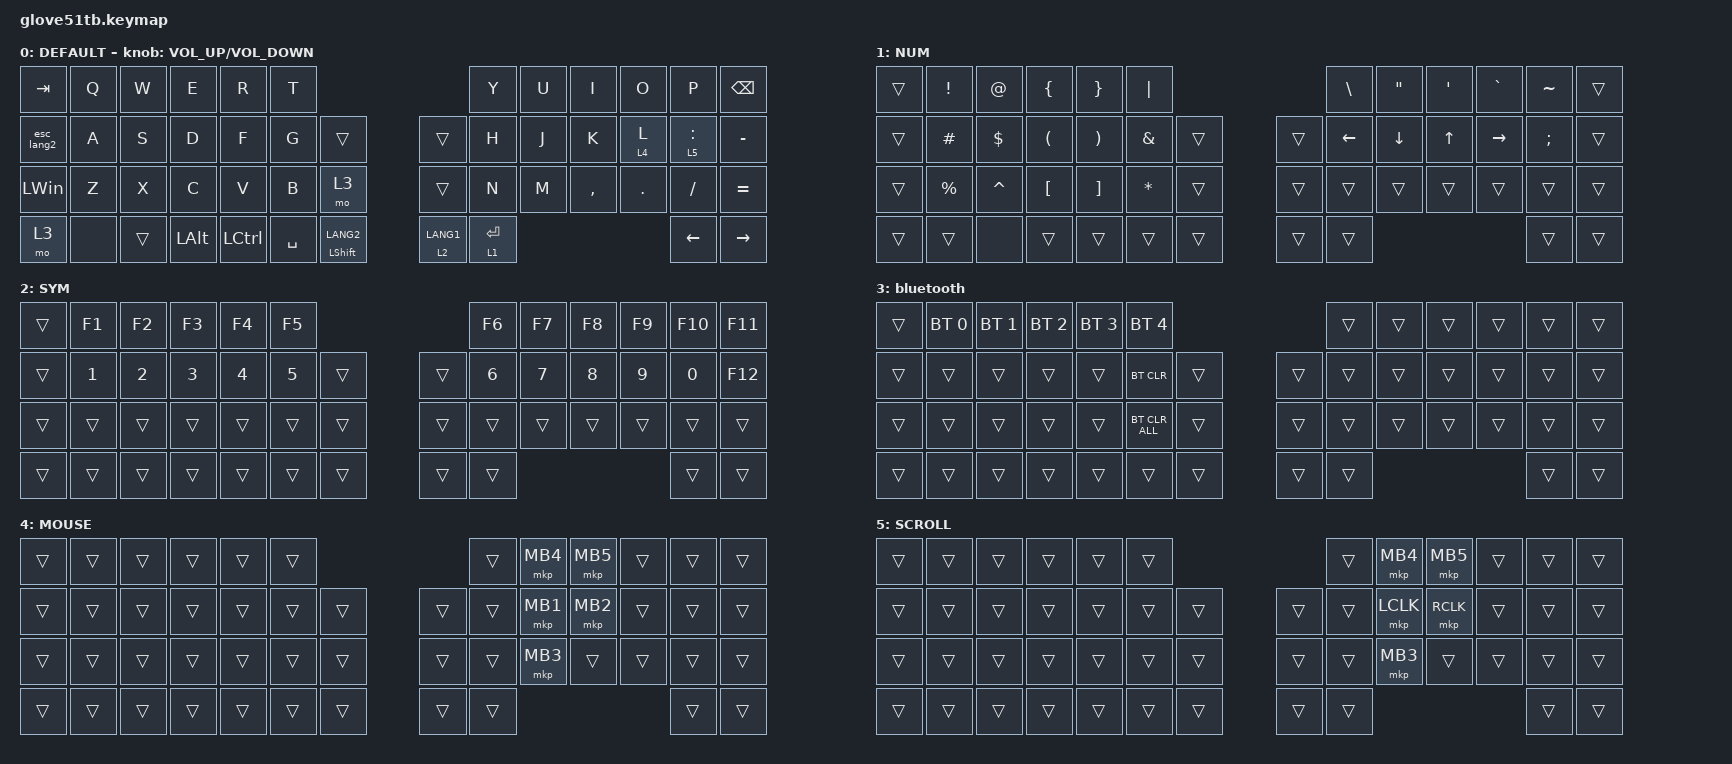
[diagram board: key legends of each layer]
#define ZMK_POINTING_DEFAULT_SCRL_VAL 150

#include <behaviors/rgbled_widget.dtsi>
#include <dt-bindings/zmk/input_transform.h>
#include <input/processors.dtsi>
#include <zephyr/dt-bindings/input/input-event-codes.h>
#include <behaviors.dtsi>
#include <dt-bindings/zmk/bt.h>
#include <dt-bindings/zmk/keys.h>
#include <dt-bindings/zmk/pointing.h>

// Layer Numbering

#define DEFAULT 0
#define NUM     1
#define SYM     2
#define FUN     3
#define MOUSE   4
#define SCROLL  5

&mmv {
    delay-ms = <20>;
    trigger-period-ms = <5>;
    time-to-max-speed-ms = <100>;
    acceleration-exponent = <2>;
};

&msc {
    delay-ms = <3>;
    trigger-period-ms = <3>;
    time-to-max-speed-ms = <100>;
    acceleration-exponent = <0>;
};

/ {
    input_processors {
        zip_wheel_scaler: zip_wheel_scaler {
            compatible = "zmk,input-processor-scaler";
            #input-processor-cells = <2>;
            type = <INPUT_EV_REL>;
            codes = <INPUT_REL_WHEEL>;
            track-remainders;
        };

        tb_y_scaler: tb_y_scaler {
            compatible = "zmk,input-processor-scaler";
            #input-processor-cells = <2>;
            type = <INPUT_EV_REL>;
            codes = <INPUT_REL_X>;
            track-remainders;
        };

        tb_x_scaler: tb_x_scaler {
            compatible = "zmk,input-processor-scaler";
            #input-processor-cells = <2>;
            type = <INPUT_EV_REL>;
            codes = <INPUT_REL_Y>;
            track-remainders;
        };

    };
};

/ {
    combos {
        compatible = "zmk,combos";

        boot_r {
            bindings = <&bootloader>;
            key-positions = <7 8 9 10>;
        };

        boot_l {
            bindings = <&bootloader>;
            key-positions = <1 2 3 4>;
        };
    };

    behaviors {
        sensor_rotate_kp: sensor_rotate_kp {
            compatible = "zmk,behavior-sensor-rotate-var";
            #sensor-binding-cells = <2>;
            bindings = <&kp>, <&kp>;
        };

        mouse_wheel_scroll: mouse_wheel_scroll {
            compatible = "zmk,behavior-sensor-rotate-var";
            #sensor-binding-cells = <2>;
            bindings = <&msc>, <&msc>;

            tap-ms = <20>;
        };
    };

    macros {
        esc_lang2: esc_lang2 {
            compatible = "zmk,behavior-macro";
            #binding-cells = <0>;
            bindings = <&kp LANG2 &kp ESCAPE>;
            label = "ESC_LANG2";
        };
    };

    keymap {
        compatible = "zmk,keymap";

        default_layer {
            label = "DEFAULT";
            bindings = <
&kp TAB       &kp Q  &kp W   &kp E         &kp R      &kp T                                         &kp Y        &kp U  &kp I      &kp O    &kp P        &kp BSPC
&esc_lang2    &kp A  &kp S   &kp D         &kp F      &kp G      &trans                &trans       &kp H        &kp J  &kp K      &lt 4 L  &lt 5 COLON  &kp MINUS
&kp LEFT_WIN  &kp Z  &kp X   &kp C         &kp V      &kp B      &mo 3                 &trans       &kp N        &kp M  &kp COMMA  &kp DOT  &kp FSLH     &kp EQUAL
&mo 3         &none  &trans  &kp LEFT_ALT  &kp LCTRL  &kp SPACE  &mt LEFT_SHIFT LANG2  &lt 2 LANG1  &lt 1 ENTER                             &kp LEFT     &kp RIGHT
            >;

            sensor-bindings = <&inc_dec_kp C_VOLUME_UP C_VOLUME_DOWN>;
        };

        symbol_layer {
            label = "NUM";
            bindings = <
&trans  &kp EXCLAMATION  &kp AT_SIGN  &kp LEFT_BRACE        &kp RIGHT_BRACE        &kp PIPE                       &kp BACKSLASH  &kp DOUBLE_QUOTES  &kp SINGLE_QUOTE  &kp GRAVE  &kp TILDE      &trans
&trans  &kp HASH         &kp DOLLAR   &kp LEFT_PARENTHESIS  &kp RIGHT_PARENTHESIS  &kp AMPERSAND  &trans  &trans  &kp LEFT       &kp DOWN           &kp UP            &kp RIGHT  &kp SEMICOLON  &trans
&trans  &kp PERCENT      &kp CARET    &kp LEFT_BRACKET      &kp RIGHT_BRACKET      &kp ASTERISK   &trans  &trans  &trans         &trans             &trans            &trans     &trans         &trans
&trans  &trans           &none        &trans                &trans                 &trans         &trans  &trans  &trans                                                         &trans         &trans
            >;
        };

        symbol_layer2 {
            label = "SYM";
            bindings = <
&trans  &kp F1        &kp F2        &kp F3        &kp F4        &kp F5                        &kp F6        &kp F7  &kp F8  &kp F9  &kp F10  &kp F11
&trans  &kp NUMBER_1  &kp NUMBER_2  &kp NUMBER_3  &kp NUMBER_4  &kp NUMBER_5  &trans  &trans  &kp NUMBER_6  &kp N7  &kp N8  &kp N9  &kp N0   &kp F12
&trans  &trans        &trans        &trans        &trans        &trans        &trans  &trans  &trans        &trans  &trans  &trans  &trans   &trans
&trans  &trans        &trans        &trans        &trans        &trans        &trans  &trans  &trans                                &trans   &trans
            >;
        };

        bluetooth {
            bindings = <
&trans  &bt BT_SEL 0  &bt BT_SEL 1  &bt BT_SEL 2  &bt BT_SEL 3  &bt BT_SEL 4                    &trans  &trans  &trans  &trans  &trans  &trans
&trans  &trans        &trans        &trans        &trans        &bt BT_CLR      &trans  &trans  &trans  &trans  &trans  &trans  &trans  &trans
&trans  &trans        &trans        &trans        &trans        &bt BT_CLR_ALL  &trans  &trans  &trans  &trans  &trans  &trans  &trans  &trans
&trans  &trans        &trans        &trans        &trans        &trans          &trans  &trans  &trans                          &trans  &trans
            >;
        };

        mouse_layer {
            label = "MOUSE";
            bindings = <
&trans  &trans  &trans  &trans  &trans  &trans                  &trans  &mkp MB4  &mkp MB5  &trans  &trans  &trans
&trans  &trans  &trans  &trans  &trans  &trans  &trans  &trans  &trans  &mkp MB1  &mkp MB2  &trans  &trans  &trans
&trans  &trans  &trans  &trans  &trans  &trans  &trans  &trans  &trans  &mkp MB3  &trans    &trans  &trans  &trans
&trans  &trans  &trans  &trans  &trans  &trans  &trans  &trans  &trans                              &trans  &trans
            >;
        };

        scroll_layer {
            label = "SCROLL";
            bindings = <
&trans  &trans  &trans  &trans  &trans  &trans                  &trans  &mkp MB4   &mkp MB5   &trans  &trans  &trans
&trans  &trans  &trans  &trans  &trans  &trans  &trans  &trans  &trans  &mkp LCLK  &mkp RCLK  &trans  &trans  &trans
&trans  &trans  &trans  &trans  &trans  &trans  &trans  &trans  &trans  &mkp MB3   &trans     &trans  &trans  &trans
&trans  &trans  &trans  &trans  &trans  &trans  &trans  &trans  &trans                                &trans  &trans
            >;
        };
    };
};
